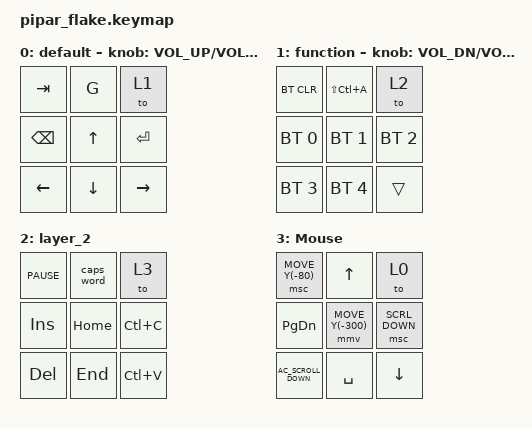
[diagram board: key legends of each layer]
/*
 * Copyright (c) 2022 The ZMK Contributors
 *
 * SPDX-License-Identifier: MIT
 */

#include <behaviors.dtsi>
#include <dt-bindings/zmk/bt.h>
#include <dt-bindings/zmk/keys.h>
#include <dt-bindings/zmk/pointing.h>

#define BASE        0
#define FUNC        1

/ {
    sensors: sensors {
        compatible = "zmk,keymap-sensors";
        sensors = <&encoder_1>;
        triggers-per-rotation = <24>;
    };

    macros {
        new_macro: new_macro {
            compatible = "zmk,behavior-macro";
            #binding-cells = <0>;
            bindings = <&none>, <&macro_release>;

            label = "NEW_MACRO";
        };

        tiktok_scroll: tiktok_scroll {
            compatible = "zmk,behavior-macro";
            #binding-cells = <0>;
            wait-ms = <50>;
            tap-ms = <40>;
            bindings =
                <&macro_press>,
                <&mkp LCLK>,
                <&macro_wait_time 50>,
                <&mmv MOVE_Y(-400)>,
                <&macro_wait_time 50>,
                <&macro_release>,
                <&mkp LCLK>,
                <&macro_wait_time 200>;

            label = "TIKTOK_SCROLL";
        };
    };

    keymap {
        compatible = "zmk,keymap";

        default_layer {
            // ---------------------------//
            // | Q    | W     | ENCODER | //
            // | A    | S     | D       | //
            // | Z    | X     | FN      | //

            display-name = "default";
            bindings = <
&kp TAB         &kp G           &to 1
&kp BACKSPACE   &kp UP_ARROW    &kp ENTER
&kp LEFT_ARROW  &kp DOWN_ARROW  &kp RIGHT_ARROW
            >;

            sensor-bindings = <&inc_dec_kp C_VOLUME_UP C_VOLUME_DOWN>;
        };

        function_layer {
            // --------------------------- //
            // | BT_CLR | none | ENCODER | //
            // | BT_0   | BT_1 | BT_2    | //
            // | BT_3   | BT_4 | trans   | //

            display-name = "function";
            bindings = <
&bt BT_CLR    &kp LS(LC(A))  &to 2
&bt BT_SEL 0  &bt BT_SEL 1   &bt BT_SEL 2
&bt BT_SEL 3  &bt BT_SEL 4   &trans
            >;

            sensor-bindings = <&inc_dec_kp C_VOL_DN C_VOL_UP>;
        };

        layer_2 {
            bindings = <
&kp C_PAUSE  &caps_word  &to 3
&kp INS      &kp HOME    &kp LC(C)
&kp DELETE   &kp END     &kp LC(V)
            >;
        };

        layer_3 {
            display-name = "Mouse";
            bindings = <
&msc MOVE_Y(-80)      &kp UP_ARROW       &to 0
&kp PG_DN             &mmv MOVE_Y(-300)  &msc SCRL_DOWN
&kp C_AC_SCROLL_DOWN  &kp SPACE          &kp DOWN_ARROW
            >;
        };
    };
};
